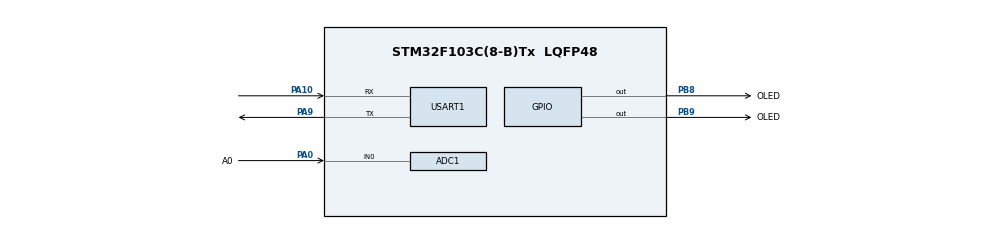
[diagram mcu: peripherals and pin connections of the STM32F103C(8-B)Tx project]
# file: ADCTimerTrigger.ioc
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ADC1.Channel-0\#ChannelRegularConversion=ADC_CHANNEL_0
ADC1.ExternalTrigConv=ADC_EXTERNALTRIGCONV_T3_TRGO
ADC1.NbrOfConversion=1
ADC1.NbrOfConversionFlag=1
ADC1.Rank-0\#ChannelRegularConversion=1
ADC1.SamplingTime-0\#ChannelRegularConversion=ADC_SAMPLETIME_7CYCLES_5
ADC1.master=1
Mcu.Family=STM32F1
Mcu.Name=STM32F103C(8-B)Tx
Mcu.Package=LQFP48
NVIC.PriorityGroup=NVIC_PRIORITYGROUP_4
PA0-WKUP.GPIO_Label=A0
PA0-WKUP.Signal=ADCx_IN0
PA10.Mode=Asynchronous
PA10.Signal=USART1_RX
PA13.Mode=Serial_Wire
PA13.Signal=SYS_JTMS-SWDIO
PA14.Mode=Serial_Wire
PA14.Signal=SYS_JTCK-SWCLK
PA9.Mode=Asynchronous
PA9.Signal=USART1_TX
PB8.GPIO_Label=OLED
PB8.GPIO_ModeDefaultOutputPP=GPIO_MODE_OUTPUT_OD
PB8.GPIO_PuPd=GPIO_NOPULL
PB8.Signal=GPIO_Output
PB9.GPIO_Label=OLED
PB9.GPIO_ModeDefaultOutputPP=GPIO_MODE_OUTPUT_OD
PB9.GPIO_PuPd=GPIO_NOPULL
PB9.Signal=GPIO_Output
ProjectManager.HeapSize=0x200
ProjectManager.StackSize=0x400
ProjectManager.TargetToolchain=CMake
RCC.APB1Freq_Value=8000000
RCC.APB2Freq_Value=8000000
SH.ADCx_IN0.0=ADC1_IN0,IN0
TIM3.AutoReloadPreload=TIM_AUTORELOAD_PRELOAD_ENABLE
TIM3.Period=1000 - 1
TIM3.Prescaler=8 - 1
TIM3.TIM_MasterOutputTrigger=TIM_TRGO_UPDATE
TIM3.TIM_MasterSlaveMode=TIM_MASTERSLAVEMODE_ENABLE
USART1.VirtualMode=VM_ASYNC
VP_TIM3_VS_ClockSourceINT.Mode=Internal
board=custom

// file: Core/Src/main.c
/* USER CODE BEGIN Header */
/**
  ******************************************************************************
  * @file           : main.c
  * @brief          : Main program body
  ******************************************************************************
  * @attention
  *
  * Copyright (c) 2026 STMicroelectronics.
  * All rights reserved.
  *
  * This software is licensed under terms that can be found in the LICENSE file
  * in the root directory of this software component.
  * If no LICENSE file comes with this software, it is provided AS-IS.
  *
  ******************************************************************************
  */
/* USER CODE END Header */
#include "main.h"

#include <stdio.h>
#include <string.h>

#include "adc.h"
#include "tim.h"
#include "usart.h"
#include "gpio.h"
#include "OLED.h"

/* USER CODE BEGIN PV */
// 新增：电压格式化函数（替代浮点sprintf，解决0A刷屏）
void format_voltage(float volt, char* buf, uint16_t buf_len) {
  if (buf == NULL || buf_len < 8) {
    strcpy(buf, "ERR\n");
    return;
  }
  int int_part = (int)volt;                     // 整数部分（如2.567 → 2）
  int dec_part = (int)((volt - int_part) * 1000 + 0.5); // 小数部分（如0.567→567）
  if (dec_part >= 1000) {
    int_part++;
    dec_part = 0;
  }
  snprintf(buf, buf_len, "%d.%03d\n", int_part, dec_part);
}
/* USER CODE END PV */

void SystemClock_Config(void);

int main(void)
{

  /* MCU Configuration--------------------------------------------------------*/

  /* Reset of all peripherals, Initializes the Flash interface and the Systick. */
  HAL_Init();

  /* Configure the system clock */
  SystemClock_Config();

  /* Initialize all configured peripherals */
  MX_GPIO_Init();
  MX_ADC1_Init();
  MX_TIM3_Init();
  MX_USART1_UART_Init();
  /* USER CODE BEGIN 2 */
  HAL_TIM_Base_Start(&htim3);  // 启动TIM3（触发源）
  HAL_ADC_Start(&hadc1);       // 启动ADC触发模式
  OLED_Init();
  OLED_Clear();
  /* USER CODE END 2 */

  /* Infinite loop */
  /* USER CODE BEGIN WHILE */
  while (1)
  {
    // 等待ADC转换完成（阻塞直到完成）
    HAL_ADC_PollForConversion(&hadc1 , HAL_MAX_DELAY);

    // 读取ADC值（修复：12位ADC最大值是4095，不是4096）
    uint32_t adc_value = HAL_ADC_GetValue(&hadc1);
    float voltage = adc_value * 3.3f / 4095.0f; // 修正电压计算分母
    OLED_ShowNum(1, 1, adc_value, 4);
    OLED_ShowString(2, 1, "OLED IS RUN OK");
    char buffer[32] = {0};
    format_voltage(voltage, buffer, sizeof(buffer)); // 格式化电压
    HAL_UART_Transmit(&huart1, (uint8_t *)buffer, strlen(buffer), HAL_MAX_DELAY);
    HAL_ADC_Start(&hadc1);
    HAL_Delay(100);
    /* USER CODE END WHILE */

  }
}

void SystemClock_Config(void)
{
  RCC_OscInitTypeDef RCC_OscInitStruct = {0};
  RCC_ClkInitTypeDef RCC_ClkInitStruct = {0};
  RCC_PeriphCLKInitTypeDef PeriphClkInit = {0};

  /** Initializes the RCC Oscillators according to the specified parameters
  * in the RCC_OscInitTypeDef structure.
  */
  RCC_OscInitStruct.OscillatorType = RCC_OSCILLATORTYPE_HSI;
  RCC_OscInitStruct.HSIState = RCC_HSI_ON;
  RCC_OscInitStruct.HSICalibrationValue = RCC_HSICALIBRATION_DEFAULT;
  RCC_OscInitStruct.PLL.PLLState = RCC_PLL_NONE;
  if (HAL_RCC_OscConfig(&RCC_OscInitStruct) != HAL_OK)
  {
    Error_Handler();
  }

  /** Initializes the CPU, AHB and APB buses clocks
  */
  RCC_ClkInitStruct.ClockType = RCC_CLOCKTYPE_HCLK|RCC_CLOCKTYPE_SYSCLK
                              |RCC_CLOCKTYPE_PCLK1|RCC_CLOCKTYPE_PCLK2;
  RCC_ClkInitStruct.SYSCLKSource = RCC_SYSCLKSOURCE_HSI;
  RCC_ClkInitStruct.AHBCLKDivider = RCC_SYSCLK_DIV1;
  RCC_ClkInitStruct.APB1CLKDivider = RCC_HCLK_DIV1;
  RCC_ClkInitStruct.APB2CLKDivider = RCC_HCLK_DIV1;

  if (HAL_RCC_ClockConfig(&RCC_ClkInitStruct, FLASH_LATENCY_0) != HAL_OK)
  {
    Error_Handler();
  }
  PeriphClkInit.PeriphClockSelection = RCC_PERIPHCLK_ADC;
  PeriphClkInit.AdcClockSelection = RCC_ADCPCLK2_DIV2;
  if (HAL_RCCEx_PeriphCLKConfig(&PeriphClkInit) != HAL_OK)
  {
    Error_Handler();
  }
}

void Error_Handler(void)
{
  __disable_irq();
  while (1)
  {
  }
}
